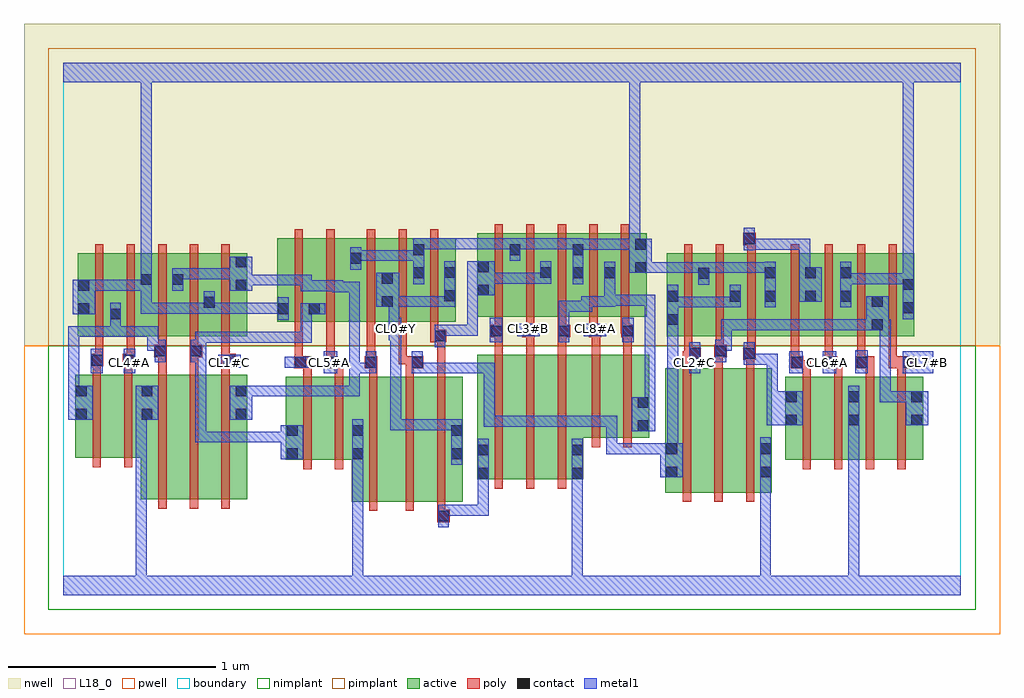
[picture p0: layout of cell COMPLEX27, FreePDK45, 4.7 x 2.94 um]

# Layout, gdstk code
import gdstk
lib = gdstk.Library(unit=1e-6, precision=1e-09)
def R(c, l, rs):  # rectangles x0, y0, x1, y1
    for r in rs: c.add(gdstk.rectangle(r[:2], r[2:], *l))
def A(c, l, x, y, w, h, nx, ny, dx, dy):  # array of equal rectangles
    R(c, l, [(x+i*dx, y+j*dy, x+i*dx+w, y+j*dy+h) for i in range(nx) for j in range(ny)])
active = (1, 0)
pwell = (2, 0)
nwell = (3, 0)
nimplant = (4, 0)
pimplant = (5, 0)
poly = (9, 0)
contact = (10, 0)
metal1 = (11, 0)
L18_0 = (18, 0)
boundary = (235, 0)

complex27 = lib.new_cell('COMPLEX27')
A(complex27, active, 0.37, 1.244, 0.06, 0.4, 4, 1, 0.152, 0)
A(complex27, active, 0.37, 1.244, 0.212, 0.4, 3, 1, 0.152, 0)
R(complex27, active, [(1.388,0.45,1.592,1.05), (1.388,0.45,1.448,0.822), (1.592,0.45,1.744,1.05), (1.744,0.45,1.924,1.05), (0.374,0.46,0.554,1.06), (0.554,0.46,0.706,1.06), (0.706,0.46,0.886,1.06), (2.898,0.492,3.078,1.092), (2.898,0.492,2.958,1.092), (3.078,0.492,3.23,1.092), (3.23,0.492,3.41,1.092), (0.826,0.556,0.886,1.06), (1.864,0.556,1.924,1.05), (1.992,0.556,2.172,1.156), (1.992,0.556,2.052,1.156), (2.172,0.556,2.324,1.156), (2.324,0.556,2.504,1.156), (2.444,0.556,2.504,0.756), (3.35,0.556,3.41,1.092), (1.072,0.65,1.252,1.05), (1.072,0.65,1.132,1.05), (1.252,0.65,1.448,1.05), (3.474,0.65,3.654,1.05), (3.474,0.65,3.534,1.05), (3.654,0.65,3.834,1.05), (3.774,0.65,3.958,1.05), (3.958,0.65,4.138,1.05), (0.058,0.66,0.238,1.06), (0.238,0.66,0.434,1.06), (0.058,0.756,0.118,1.06), (0.374,0.756,0.434,1.06), (2.444,0.756,2.64,1.156), (2.64,0.756,2.82,1.156), (2.76,0.756,2.82,1.156), (3.774,0.756,3.834,0.984), (4.078,0.756,4.138,1.05), (0.07,1.244,0.13,1.644), (0.07,1.244,0.282,1.644), (0.222,1.244,0.282,1.644), (0.222,1.244,0.43,1.644), (2.904,1.244,2.964,1.644), (2.904,1.244,3.112,1.644), (3.052,1.244,3.112,1.644), (3.052,1.244,3.264,1.644), (3.204,1.244,3.264,1.644), (3.204,1.244,3.432,1.644), (3.372,1.244,3.432,1.644), (3.372,1.244,3.626,1.644), (3.566,1.244,3.626,1.644), (3.566,1.244,3.796,1.644), (3.736,1.244,3.796,1.644), (3.736,1.244,3.948,1.644), (3.888,1.244,3.948,1.644), (3.888,1.244,4.096,1.644), (4.036,1.244,4.096,1.644), (1.03,1.316,1.238,1.716), (1.03,1.316,1.09,1.644), (1.178,1.316,1.238,1.644), (1.178,1.316,1.438,1.716), (1.378,1.316,1.59,1.716), (1.378,1.316,1.438,1.65), (1.53,1.316,1.742,1.716), (1.53,1.316,1.59,1.644), (1.682,1.316,1.89,1.716), (1.682,1.316,1.742,1.692), (1.83,1.316,1.89,1.644), (1.992,1.34,2.052,1.644), (1.992,1.34,2.204,1.74), (2.144,1.34,2.352,1.74), (2.144,1.34,2.204,1.692), (2.292,1.34,2.508,1.74), (2.448,1.34,2.66,1.74), (2.448,1.34,2.508,1.692), (2.6,1.34,2.66,1.644), (2.6,1.34,2.808,1.74), (2.748,1.34,2.808,1.718), (2.292,1.522,2.352,1.644)])
R(complex27, pwell, [(-0.188,-0.188,4.508,1.2)])
R(complex27, nwell, [(-0.188,1.2,4.508,2.748)])
R(complex27, nimplant, [(-0.072,-0.072,4.392,1.2)])
R(complex27, pimplant, [(-0.072,1.2,4.392,2.632)])
A(complex27, poly, 0.458, 0.416, 0.04, 0.688, 3, 1, 0.152, 0)
A(complex27, poly, 2.982, 0.448, 0.04, 0.688, 3, 1, 0.152, 0)
A(complex27, poly, 2.076, 0.512, 0.04, 0.688, 3, 1, 0.152, 0)
A(complex27, poly, 3.558, 0.606, 0.04, 0.488, 4, 1, 0.152, 0)
A(complex27, poly, 3.558, 1.054, 0.04, 0.076, 4, 1, 0.152, 0)
A(complex27, poly, 2.076, 1.16, 0.04, 0.12, 3, 1, 0.152, 0)
A(complex27, poly, 0.154, 1.2, 0.04, 0.488, 5, 1, 0.152, 0)
A(complex27, poly, 2.988, 1.2, 0.04, 0.488, 3, 1, 0.152, 0)
A(complex27, poly, 2.076, 1.26, 0.04, 0.076, 5, 1, 0.152, 0)
A(complex27, poly, 1.462, 1.272, 0.04, 0.488, 3, 1, 0.152, 0)
A(complex27, poly, 2.076, 1.296, 0.04, 0.488, 5, 1, 0.152, 0)
R(complex27, poly, [(1.8,0.35,1.86,0.41), (1.8,0.37,1.84,0.446), (1.472,0.406,1.512,1.094), (1.648,0.406,1.688,1.094), (1.8,0.406,1.84,1.094), (1.156,0.606,1.196,1.094), (1.308,0.606,1.348,1.094), (0.142,0.616,0.182,1.104), (0.294,0.616,0.334,1.104), (2.544,0.712,2.584,1.2), (2.696,0.712,2.736,1.2), (1.156,1.054,1.196,1.13), (1.308,1.054,1.348,1.13), (1.472,1.054,1.512,1.13), (1.648,1.054,1.688,1.13), (1.8,1.054,1.84,1.256), (0.142,1.064,0.182,1.14), (0.294,1.064,0.334,1.14), (0.458,1.064,0.498,1.184), (0.61,1.064,0.65,1.184), (0.762,1.064,0.802,1.14), (1.112,1.09,1.196,1.15), (1.262,1.09,1.322,1.15), (1.282,1.09,1.322,1.13), (1.282,1.09,1.348,1.13), (1.452,1.09,1.512,1.15), (1.472,1.09,1.512,1.13), (1.472,1.09,1.512,1.13), (1.648,1.09,1.734,1.15), (3.502,1.09,3.562,1.15), (3.522,1.09,3.562,1.13), (3.522,1.09,3.598,1.13), (3.664,1.09,3.724,1.15), (3.684,1.09,3.724,1.13), (3.684,1.09,3.75,1.13), (3.816,1.09,3.902,1.15), (3.972,1.09,4.096,1.15), (4.014,1.09,4.054,1.13), (4.014,1.09,4.054,1.13), (2.982,1.096,3.022,1.172), (3.134,1.096,3.174,1.184), (3.286,1.096,3.326,1.172), (0.134,1.1,0.194,1.16), (0.288,1.1,0.348,1.16), (0.762,1.1,0.83,1.16), (1.114,1.11,1.154,1.15), (1.114,1.11,1.154,1.15), (1.114,1.11,1.154,1.312), (1.266,1.11,1.306,1.312), (1.462,1.11,1.502,1.312), (1.614,1.11,1.654,1.312), (1.614,1.11,1.688,1.15), (1.648,1.11,1.688,1.15), (3.502,1.11,3.542,1.24), (3.664,1.11,3.704,1.24), (3.82,1.11,3.86,1.24), (3.82,1.11,3.86,1.15), (3.82,1.11,3.86,1.15), (3.972,1.11,4.012,1.24), (0.154,1.12,0.194,1.16), (0.154,1.12,0.194,1.16), (0.154,1.12,0.194,1.24), (0.306,1.12,0.346,1.16), (0.306,1.12,0.346,1.16), (0.306,1.12,0.346,1.24), (0.762,1.12,0.802,1.16), (0.762,1.12,0.802,1.16), (0.762,1.12,0.802,1.24), (2.982,1.132,3.028,1.172), (2.988,1.132,3.028,1.172), (2.988,1.132,3.068,1.192), (3.272,1.132,3.332,1.192), (0.438,1.144,0.498,1.204), (0.458,1.144,0.498,1.184), (0.458,1.144,0.498,1.184), (0.61,1.144,0.65,1.184), (0.61,1.144,0.65,1.184), (0.61,1.144,0.67,1.204), (3.134,1.144,3.174,1.184), (3.134,1.144,3.174,1.184), (3.134,1.144,3.194,1.204), (2.988,1.152,3.028,1.24), (3.292,1.152,3.332,1.192), (3.292,1.152,3.332,1.192), (3.292,1.152,3.332,1.24), (2.544,1.16,2.584,1.28), (2.696,1.16,2.736,1.28), (0.458,1.164,0.498,1.24), (0.61,1.164,0.65,1.24), (3.14,1.164,3.18,1.24), (3.502,1.2,3.542,1.688), (3.664,1.2,3.704,1.688), (3.82,1.2,3.86,1.688), (3.972,1.2,4.012,1.688), (1.766,1.216,1.844,1.276), (1.8,1.216,1.84,1.256), (1.8,1.216,1.84,1.256), (1.766,1.236,1.806,1.312), (2.056,1.24,2.116,1.3), (2.076,1.24,2.116,1.28), (2.076,1.24,2.116,1.28), (2.21,1.24,2.27,1.3), (2.38,1.24,2.42,1.28), (2.38,1.24,2.42,1.28), (2.38,1.24,2.44,1.3), (2.53,1.24,2.59,1.3), (2.686,1.24,2.746,1.3), (2.228,1.26,2.268,1.3), (2.228,1.26,2.268,1.3), (2.532,1.26,2.572,1.3), (2.532,1.26,2.572,1.3), (2.684,1.26,2.726,1.3), (2.686,1.26,2.726,1.3), (1.114,1.272,1.154,1.76), (1.266,1.272,1.306,1.76), (3.292,1.648,3.332,1.724), (3.272,1.684,3.332,1.744)])
R(complex27, contact, [(1.804,0.354,1.856,0.406), (1.996,0.56,2.048,0.612), (2.448,0.56,2.5,0.612), (2.902,0.566,2.954,0.618), (3.354,0.566,3.406,0.618), (1.076,0.654,1.128,0.706), (1.392,0.654,1.444,0.706), (1.868,0.654,1.92,0.706), (1.996,0.672,2.048,0.724), (2.448,0.672,2.5,0.724), (2.902,0.678,2.954,0.73), (3.354,0.678,3.406,0.73), (1.076,0.766,1.128,0.818), (1.392,0.766,1.444,0.818), (1.868,0.766,1.92,0.818), (2.764,0.788,2.816,0.84), (3.478,0.816,3.53,0.868), (3.778,0.816,3.83,0.868), (4.082,0.816,4.134,0.868), (0.062,0.844,0.114,0.896), (0.378,0.844,0.43,0.896), (0.83,0.844,0.882,0.896), (2.764,0.9,2.816,0.952), (3.478,0.928,3.53,0.98), (3.778,0.928,3.83,0.98), (4.082,0.928,4.134,0.98), (0.062,0.956,0.114,1.008), (0.378,0.956,0.43,1.008), (0.83,0.956,0.882,1.008), (1.116,1.094,1.168,1.146), (1.266,1.094,1.318,1.146), (1.456,1.094,1.508,1.146), (1.678,1.094,1.73,1.146), (3.506,1.094,3.558,1.146), (3.668,1.094,3.72,1.146), (3.82,1.094,3.872,1.146), (4.04,1.094,4.092,1.146), (0.138,1.104,0.19,1.156), (0.292,1.104,0.344,1.156), (0.774,1.104,0.826,1.156), (3.012,1.136,3.064,1.188), (3.276,1.136,3.328,1.188), (0.442,1.148,0.494,1.2), (0.614,1.148,0.666,1.2), (3.138,1.148,3.19,1.2), (1.788,1.22,1.84,1.272), (2.06,1.244,2.112,1.296), (2.214,1.244,2.266,1.296), (2.384,1.244,2.436,1.296), (2.534,1.244,2.586,1.296), (2.69,1.244,2.742,1.296), (3.892,1.274,3.944,1.326), (2.908,1.3,2.96,1.352), (0.226,1.326,0.278,1.378), (0.074,1.352,0.126,1.404), (1.034,1.352,1.086,1.404), (1.182,1.352,1.234,1.404), (4.04,1.356,4.092,1.408), (0.678,1.382,0.73,1.434), (1.534,1.386,1.586,1.438), (3.892,1.386,3.944,1.438), (2.908,1.412,2.96,1.464), (3.208,1.412,3.26,1.464), (3.376,1.412,3.428,1.464), (3.57,1.412,3.622,1.464), (3.74,1.412,3.792,1.464), (1.834,1.414,1.886,1.466), (1.996,1.442,2.048,1.494), (0.074,1.464,0.126,1.516), (0.83,1.464,0.882,1.516), (4.04,1.468,4.092,1.52), (0.374,1.492,0.426,1.544), (0.526,1.492,0.578,1.544), (1.534,1.498,1.586,1.55), (3.056,1.522,3.108,1.574), (1.686,1.524,1.738,1.576), (2.452,1.524,2.504,1.576), (2.604,1.524,2.656,1.576), (3.376,1.524,3.428,1.576), (3.57,1.524,3.622,1.576), (3.74,1.524,3.792,1.576), (1.834,1.526,1.886,1.578), (2.296,1.526,2.348,1.578), (2.752,1.55,2.804,1.602), (1.996,1.554,2.048,1.606), (0.83,1.576,0.882,1.628), (1.382,1.594,1.434,1.646), (1.686,1.636,1.738,1.688), (2.148,1.636,2.2,1.688), (2.452,1.636,2.504,1.688), (2.752,1.662,2.804,1.714), (3.276,1.688,3.328,1.74)])
A(complex27, metal1, 3.166, 1.274, 0.162, 0.052, 3, 1, 0.11, 0)
R(complex27, metal1, [(0,0,4.32,0.092), (0.35,0.04,0.402,0.092), (0.35,0.04,0.402,0.092), (0.35,0.04,0.402,0.092), (0.35,0.04,0.402,0.092), (0.35,0.04,0.402,0.092), (0.35,0.04,0.402,0.092), (0.35,0.04,0.402,0.092), (0.35,0.04,0.402,0.092), (0.35,0.04,0.402,0.896), (1.392,0.04,1.444,0.092), (1.392,0.04,1.444,0.092), (1.392,0.04,1.444,0.092), (1.392,0.04,1.444,0.092), (1.392,0.04,1.444,0.092), (1.392,0.04,1.444,0.092), (1.392,0.04,1.444,0.678), (2.448,0.04,2.5,0.584), (3.354,0.04,3.406,0.092), (3.354,0.04,3.406,0.092), (3.354,0.04,3.406,0.092), (3.354,0.04,3.406,0.092), (3.354,0.04,3.406,0.092), (3.354,0.04,3.406,0.092), (3.354,0.04,3.406,0.092), (3.354,0.04,3.406,0.092), (3.354,0.04,3.406,0.59), (3.778,0.04,3.83,0.84), (1.804,0.326,1.856,0.434), (1.804,0.382,1.856,0.434), (1.804,0.382,1.856,0.434), (1.804,0.382,2.048,0.434), (1.996,0.382,2.048,0.434), (1.996,0.382,2.048,0.584), (1.996,0.532,2.048,0.752), (2.448,0.532,2.5,0.584), (2.448,0.532,2.5,0.584), (2.448,0.532,2.5,0.584), (2.448,0.532,2.5,0.584), (2.448,0.532,2.5,0.584), (2.448,0.532,2.5,0.584), (2.448,0.532,2.5,0.584), (2.448,0.532,2.5,0.584), (2.448,0.532,2.5,0.752), (3.354,0.538,3.406,0.758), (2.874,0.566,2.982,0.73), (1.392,0.626,1.444,0.678), (1.392,0.626,1.444,0.678), (1.392,0.626,1.444,0.846), (1.868,0.626,1.92,0.846), (1.048,0.654,1.156,0.818), (2.614,0.678,2.666,0.73), (2.614,0.678,2.816,0.73), (2.614,0.678,2.666,0.862), (2.764,0.678,2.816,0.73), (2.764,0.678,2.816,0.73), (2.764,0.678,2.816,0.73), (2.764,0.678,2.926,0.73), (2.908,0.678,2.96,0.73), (2.908,0.678,2.96,0.73), (2.908,0.678,2.96,0.73), (2.908,0.678,2.96,0.73), (2.908,0.678,2.96,1.324), (0.636,0.734,0.688,0.786), (0.636,0.734,0.688,0.786), (0.636,0.734,0.688,0.786), (0.636,0.734,0.854,0.786), (0.636,0.734,0.688,1.228), (0.802,0.734,0.854,0.786), (0.802,0.734,0.854,0.786), (0.802,0.734,0.854,0.786), (0.802,0.734,1.1,0.786), (2.736,0.788,2.85,0.952), (3.778,0.788,3.83,0.84), (3.778,0.788,3.83,0.84), (3.778,0.788,3.83,0.84), (3.778,0.788,3.83,0.84), (3.778,0.788,3.83,0.84), (3.778,0.788,3.83,0.84), (3.778,0.788,3.83,0.84), (3.778,0.788,3.83,0.84), (3.778,0.788,3.83,0.84), (3.778,0.788,3.83,0.84), (3.778,0.788,3.83,0.84), (3.778,0.788,3.83,0.84), (3.778,0.788,3.83,1.008), (1.574,0.794,1.626,0.846), (1.574,0.794,1.626,0.846), (1.574,0.794,1.626,0.846), (1.574,0.794,1.736,0.846), (1.574,0.794,1.626,1.278), (1.684,0.794,1.736,0.846), (1.684,0.794,1.886,0.846), (1.834,0.794,1.886,0.846), (1.834,0.794,1.92,0.846), (2.024,0.81,2.076,0.862), (2.024,0.81,2.076,0.862), (2.024,0.81,2.076,0.862), (2.024,0.81,2.186,0.862), (2.024,0.81,2.076,1.118), (2.134,0.81,2.186,0.862), (2.134,0.81,2.186,0.862), (2.134,0.81,2.186,0.862), (2.134,0.81,2.326,0.862), (2.274,0.81,2.326,0.862), (2.274,0.81,2.326,0.862), (2.274,0.81,2.326,0.862), (2.274,0.81,2.546,0.862), (2.494,0.81,2.546,0.862), (2.494,0.81,2.546,0.862), (2.494,0.81,2.546,0.862), (2.494,0.81,2.666,0.862), (2.614,0.81,2.666,0.862), (3.386,0.816,3.558,0.98), (4.054,0.816,4.162,0.98), (0.026,0.844,0.142,1.008), (0.35,0.844,0.458,1.008), (0.802,0.844,0.91,1.008), (2.798,0.9,2.85,1.444), (3.386,0.928,3.438,1.16), (3.93,0.928,3.982,0.98), (3.93,0.928,3.982,0.98), (3.93,0.928,3.982,0.98), (3.93,0.928,4.106,0.98), (3.93,0.928,3.982,1.326), (4.054,0.928,4.106,0.98), (4.054,0.928,4.106,0.98), (0.026,0.956,0.078,1.008), (0.026,0.956,0.078,1.008), (0.026,0.956,0.078,1.294), (0.858,0.956,1.086,1.008), (1.034,0.956,1.086,1.008), (1.034,0.956,1.086,1.008), (1.034,0.956,1.086,1.008), (1.034,0.956,1.318,1.008), (1.266,0.956,1.318,1.008), (1.266,0.956,1.318,1.008), (1.266,0.956,1.318,1.008), (1.266,0.956,1.318,1.008), (1.266,0.956,1.318,1.008), (1.266,0.956,1.428,1.008), (1.376,0.956,1.428,1.008), (1.376,0.956,1.428,1.118), (0.134,1.066,0.19,1.184), (0.292,1.066,0.348,1.184), (1.254,1.066,1.318,1.174), (1.376,1.066,1.428,1.118), (1.376,1.066,1.428,1.118), (1.376,1.066,1.428,1.118), (1.376,1.066,1.508,1.118), (1.376,1.066,1.428,1.508), (1.456,1.066,1.508,1.174), (1.678,1.066,1.73,1.174), (1.678,1.066,1.746,1.118), (1.694,1.066,1.746,1.118), (1.694,1.066,1.886,1.118), (1.834,1.066,1.886,1.118), (1.834,1.066,1.886,1.118), (1.834,1.066,1.886,1.118), (1.834,1.066,2.076,1.118), (2.024,1.066,2.076,1.118), (3.012,1.066,3.066,1.216), (3.494,1.066,3.558,1.174), (3.654,1.066,3.72,1.174), (3.812,1.066,3.872,1.178), (4.04,1.066,4.186,1.174), (0.746,1.094,0.854,1.156), (1.066,1.094,1.196,1.146), (3.276,1.108,3.328,1.16), (3.276,1.108,3.328,1.16), (3.276,1.108,3.438,1.16), (3.276,1.108,3.328,1.216), (3.386,1.108,3.438,1.16), (0.442,1.12,0.494,1.228), (0.614,1.12,0.666,1.228), (3.138,1.12,3.19,1.228), (0.406,1.176,0.494,1.228), (0.406,1.176,0.458,1.294), (0.614,1.176,0.688,1.228), (0.636,1.176,0.688,1.228), (0.636,1.176,0.688,1.228), (0.636,1.176,0.688,1.266), (3.138,1.176,3.218,1.228), (3.166,1.176,3.218,1.326), (1.788,1.192,1.84,1.3), (0.636,1.214,0.854,1.266), (0.802,1.214,0.854,1.266), (0.802,1.214,0.964,1.266), (0.912,1.214,0.964,1.266), (0.912,1.214,0.964,1.266), (0.912,1.214,0.964,1.266), (0.912,1.214,1.196,1.266), (1.144,1.214,1.196,1.266), (1.144,1.214,1.196,1.266), (1.144,1.214,1.196,1.266), (1.144,1.214,1.196,1.404), (2.054,1.216,2.112,1.334), (2.384,1.216,2.436,1.324), (2.69,1.216,2.746,1.334), (1.568,1.226,1.626,1.334), (0.026,1.242,0.078,1.294), (0.026,1.242,0.078,1.294), (0.026,1.242,0.078,1.294), (0.026,1.242,0.278,1.294), (0.226,1.242,0.278,1.294), (0.226,1.242,0.278,1.294), (0.226,1.242,0.278,1.294), (0.226,1.242,0.278,1.35), (0.226,1.242,0.458,1.294), (2.186,1.244,2.294,1.306), (2.506,1.244,2.614,1.306), (1.788,1.248,1.92,1.3), (1.868,1.248,1.92,1.3), (1.868,1.248,1.996,1.3), (1.944,1.248,1.996,1.3), (1.944,1.248,1.996,1.494), (2.384,1.272,2.436,1.324), (2.384,1.272,2.436,1.416), (2.908,1.272,2.96,1.324), (2.908,1.272,2.96,1.324), (2.908,1.272,2.96,1.492), (3.276,1.274,3.328,1.326), (3.276,1.274,3.328,1.326), (3.276,1.274,3.328,1.326), (3.386,1.274,3.438,1.326), (3.386,1.274,3.438,1.326), (3.386,1.274,3.438,1.326), (3.496,1.274,3.548,1.326), (3.496,1.274,3.548,1.326), (3.496,1.274,3.548,1.326), (3.496,1.274,3.682,1.326), (3.63,1.274,3.682,1.326), (3.63,1.274,3.682,1.326), (3.63,1.274,3.682,1.326), (3.63,1.274,3.872,1.326), (3.82,1.274,3.872,1.326), (3.82,1.274,3.916,1.326), (3.864,1.274,3.972,1.438), (3.92,1.274,3.972,1.326), (3.92,1.274,3.982,1.326), (1.566,1.282,1.618,1.438), (1.566,1.282,1.62,1.334), (1.568,1.282,1.62,1.334), (0.226,1.298,0.278,1.406), (1.034,1.324,1.086,1.432), (4.04,1.328,4.092,1.548), (0.046,1.352,0.154,1.516), (1.144,1.352,1.262,1.404), (0.374,1.354,0.426,1.406), (0.374,1.354,0.426,1.406), (0.374,1.354,0.426,1.406), (0.374,1.354,0.426,1.516), (0.374,1.354,0.568,1.406), (0.516,1.354,0.568,1.406), (0.516,1.354,0.568,1.406), (0.516,1.354,0.568,1.406), (0.516,1.354,0.73,1.406), (0.678,1.354,0.84,1.406), (0.678,1.354,0.73,1.462), (0.788,1.354,0.84,1.406), (0.788,1.354,0.84,1.406), (0.788,1.354,0.84,1.406), (0.788,1.354,1.086,1.406), (2.384,1.364,2.546,1.416), (2.494,1.364,2.546,1.438), (2.908,1.384,3.078,1.436), (3.026,1.384,3.078,1.436), (3.026,1.384,3.078,1.436), (3.026,1.384,3.078,1.436), (3.026,1.384,3.188,1.436), (3.136,1.384,3.188,1.436), (3.136,1.384,3.26,1.436), (3.208,1.384,3.26,1.492), (3.376,1.384,3.428,1.604), (3.74,1.384,3.792,1.604), (1.506,1.386,1.618,1.55), (1.566,1.386,1.618,1.438), (1.566,1.386,1.618,1.438), (1.566,1.386,1.736,1.438), (1.684,1.386,1.736,1.438), (1.684,1.386,1.886,1.438), (1.834,1.386,1.886,1.438), (1.834,1.386,1.886,1.438), (1.834,1.386,1.886,1.606), (2.494,1.386,2.656,1.438), (2.604,1.386,2.656,1.444), (2.604,1.392,2.656,1.444), (2.604,1.392,2.656,1.444), (2.604,1.392,2.85,1.444), (2.604,1.392,2.656,1.548), (2.798,1.392,2.85,1.444), (2.798,1.392,2.85,1.444), (2.798,1.392,2.85,1.444), (3.542,1.412,3.65,1.576), (1.944,1.442,2.076,1.606), (1.296,1.456,1.348,1.514), (1.296,1.456,1.428,1.508), (1.376,1.456,1.428,1.508), (1.144,1.462,1.348,1.514), (1.144,1.462,1.196,1.542), (0.102,1.464,0.154,1.516), (0.102,1.464,0.154,1.516), (0.102,1.464,0.264,1.516), (0.212,1.464,0.264,1.516), (0.212,1.464,0.264,1.516), (0.212,1.464,0.264,1.516), (0.212,1.464,0.426,1.516), (0.374,1.464,0.426,1.516), (0.374,1.464,0.426,1.516), (0.374,1.464,0.426,1.516), (0.374,1.464,0.426,1.516), (0.374,1.464,0.426,1.572), (0.526,1.464,0.578,1.572), (0.802,1.464,0.91,1.628), (0.858,1.49,1.086,1.542), (1.034,1.49,1.086,1.542), (1.034,1.49,1.086,1.542), (1.034,1.49,1.086,1.542), (1.034,1.49,1.196,1.542), (3.056,1.494,3.108,1.602), (1.686,1.496,1.738,1.716), (2.452,1.496,2.504,1.716), (2.604,1.496,2.656,1.604), (3.74,1.496,3.792,1.548), (3.74,1.496,3.792,1.548), (3.74,1.496,3.902,1.548), (3.85,1.496,3.902,1.548), (3.85,1.496,4.092,1.548), (4.04,1.496,4.092,1.548), (4.04,1.496,4.092,1.548), (4.04,1.496,4.092,1.548), (4.04,1.496,4.092,1.548), (4.04,1.496,4.092,1.548), (4.04,1.496,4.092,1.548), (4.04,1.496,4.092,1.548), (4.04,1.496,4.092,1.548), (4.04,1.496,4.092,1.548), (4.04,1.496,4.092,1.548), (4.04,1.496,4.092,1.548), (4.04,1.496,4.092,1.548), (4.04,1.496,4.092,2.52), (2.024,1.498,2.076,1.55), (2.024,1.498,2.076,1.55), (2.024,1.498,2.186,1.55), (2.134,1.498,2.186,1.55), (2.134,1.498,2.186,1.55), (2.134,1.498,2.186,1.55), (2.134,1.498,2.348,1.55), (2.296,1.498,2.348,1.606), (0.374,1.52,0.426,1.572), (0.374,1.52,0.426,1.572), (0.374,1.52,0.426,1.572), (0.374,1.52,0.426,1.572), (0.374,1.52,0.426,1.572), (0.374,1.52,0.426,1.572), (0.374,1.52,0.426,1.572), (0.374,1.52,0.426,1.572), (0.374,1.52,0.426,1.572), (0.374,1.52,0.426,1.572), (0.374,1.52,0.426,1.572), (0.374,1.52,0.426,1.572), (0.374,1.52,0.426,1.572), (0.374,1.52,0.426,1.572), (0.374,1.52,0.426,2.52), (0.526,1.52,0.578,1.572), (0.526,1.52,0.578,1.572), (0.526,1.52,0.688,1.572), (0.636,1.52,0.688,1.572), (0.636,1.52,0.854,1.572), (0.802,1.52,0.854,1.572), (0.802,1.52,0.854,1.572), (3.542,1.524,3.594,1.714), (2.724,1.55,2.832,1.714), (2.78,1.55,2.96,1.602), (2.908,1.55,2.96,1.602), (2.908,1.55,2.96,1.602), (2.908,1.55,2.96,1.602), (2.908,1.55,3.108,1.602), (3.056,1.55,3.218,1.602), (3.166,1.55,3.218,1.602), (3.166,1.55,3.218,1.602), (3.166,1.55,3.218,1.602), (3.166,1.55,3.328,1.602), (3.276,1.55,3.328,1.602), (3.276,1.55,3.428,1.602), (1.382,1.566,1.434,1.674), (1.382,1.608,1.466,1.66), (1.414,1.608,1.466,1.66), (1.414,1.608,1.626,1.66), (1.574,1.608,1.626,1.66), (1.574,1.608,1.626,1.66), (1.574,1.608,1.626,1.66), (1.574,1.608,1.738,1.66), (2.148,1.608,2.2,1.716), (3.276,1.66,3.328,1.768), (2.452,1.662,2.546,1.714), (2.494,1.662,2.546,1.714), (2.494,1.662,2.666,1.714), (2.614,1.662,2.666,1.714), (2.614,1.662,2.666,1.714), (2.614,1.662,2.666,1.714), (2.614,1.662,2.776,1.714), (2.724,1.662,2.776,1.714), (2.724,1.662,2.776,1.714), (2.724,1.662,2.776,1.714), (2.724,1.662,2.776,1.714), (2.724,1.662,2.776,1.714), (2.724,1.662,2.776,1.714), (2.724,1.662,2.776,1.714), (2.724,1.662,2.776,1.714), (2.724,1.662,2.776,2.52), (3.276,1.662,3.328,1.714), (3.276,1.662,3.328,1.714), (3.276,1.662,3.438,1.714), (3.386,1.662,3.438,1.714), (3.386,1.662,3.438,1.714), (3.386,1.662,3.438,1.714), (3.386,1.662,3.594,1.714), (3.542,1.662,3.594,1.714), (1.686,1.664,1.886,1.716), (1.834,1.664,1.886,1.716), (1.834,1.664,1.886,1.716), (1.834,1.664,1.886,1.716), (1.834,1.664,2.03,1.716), (1.978,1.664,2.03,1.716), (1.978,1.664,2.03,1.716), (1.978,1.664,2.03,1.716), (1.978,1.664,2.2,1.716), (2.148,1.664,2.2,1.716), (2.148,1.664,2.2,1.716), (2.148,1.664,2.326,1.716), (2.274,1.664,2.326,1.716), (2.274,1.664,2.326,1.716), (2.274,1.664,2.326,1.716), (2.274,1.664,2.504,1.716), (0,2.468,4.32,2.56), (0.374,2.468,0.426,2.52), (0.374,2.468,0.426,2.52), (2.724,2.468,2.776,2.52), (2.724,2.468,2.776,2.52), (2.724,2.468,2.776,2.52), (2.724,2.468,2.776,2.52), (2.724,2.468,2.776,2.52), (2.724,2.468,2.776,2.52), (2.724,2.468,2.776,2.52), (2.724,2.468,2.776,2.52), (4.04,2.468,4.092,2.52), (4.04,2.468,4.092,2.52), (4.04,2.468,4.092,2.52), (4.04,2.468,4.092,2.52), (4.04,2.468,4.092,2.52), (4.04,2.468,4.092,2.52)])
A(complex27, L18_0, 3.494, 1.094, 0.052, 0.052, 3, 1, 0.16, 0)
R(complex27, L18_0, [(0,0,4.32,0.092), (0.35,0.04,0.402,0.092), (0.35,0.04,0.402,0.092), (0.35,0.04,0.402,0.092), (0.35,0.04,0.402,0.092), (0.35,0.04,0.402,0.092), (0.35,0.04,0.402,0.092), (0.35,0.04,0.402,0.092), (0.35,0.04,0.402,0.092), (0.35,0.04,0.402,0.896), (1.392,0.04,1.444,0.092), (1.392,0.04,1.444,0.092), (1.392,0.04,1.444,0.092), (1.392,0.04,1.444,0.092), (1.392,0.04,1.444,0.092), (1.392,0.04,1.444,0.092), (1.392,0.04,1.444,0.678), (2.448,0.04,2.5,0.584), (3.354,0.04,3.406,0.092), (3.354,0.04,3.406,0.092), (3.354,0.04,3.406,0.092), (3.354,0.04,3.406,0.092), (3.354,0.04,3.406,0.092), (3.354,0.04,3.406,0.092), (3.354,0.04,3.406,0.092), (3.354,0.04,3.406,0.092), (3.354,0.04,3.406,0.59), (3.778,0.04,3.83,0.84), (2.448,0.532,2.5,0.584), (2.448,0.532,2.5,0.584), (2.448,0.532,2.5,0.584), (2.448,0.532,2.5,0.584), (2.448,0.532,2.5,0.584), (2.448,0.532,2.5,0.584), (2.448,0.532,2.5,0.584), (2.448,0.532,2.5,0.584), (2.448,0.532,2.5,0.752), (3.354,0.538,3.406,0.758), (1.392,0.626,1.444,0.678), (1.392,0.626,1.444,0.678), (1.392,0.626,1.444,0.846), (1.868,0.626,1.92,0.846), (3.778,0.788,3.83,0.84), (3.778,0.788,3.83,0.84), (3.778,0.788,3.83,0.84), (3.778,0.788,3.83,0.84), (3.778,0.788,3.83,0.84), (3.778,0.788,3.83,0.84), (3.778,0.788,3.83,0.84), (3.778,0.788,3.83,0.84), (3.778,0.788,3.83,0.84), (3.778,0.788,3.83,0.84), (3.778,0.788,3.83,0.84), (3.778,0.788,3.83,0.84), (3.778,0.788,3.83,1.008), (1.574,0.794,1.626,0.846), (1.574,0.794,1.626,0.846), (1.574,0.794,1.626,0.846), (1.574,0.794,1.736,0.846), (1.574,0.794,1.626,1.278), (1.684,0.794,1.736,0.846), (1.684,0.794,1.886,0.846), (1.834,0.794,1.886,0.846), (1.834,0.794,1.92,0.846), (0.35,0.844,0.458,1.008), (0.134,1.066,0.19,1.184), (0.292,1.066,0.348,1.184), (1.254,1.066,1.318,1.174), (3.012,1.066,3.066,1.216), (3.494,1.066,3.558,1.174), (3.654,1.066,3.72,1.174), (3.812,1.066,3.872,1.178), (4.04,1.066,4.186,1.174), (0.134,1.094,0.186,1.146), (0.294,1.094,0.346,1.146), (0.746,1.094,0.854,1.156), (0.774,1.094,0.826,1.146), (1.066,1.094,1.196,1.146), (1.094,1.094,1.146,1.146), (1.254,1.094,1.306,1.146), (3.014,1.094,3.066,1.146), (4.134,1.094,4.186,1.146), (2.054,1.216,2.112,1.334), (2.69,1.216,2.746,1.334), (1.568,1.226,1.626,1.334), (2.186,1.244,2.294,1.306), (2.506,1.244,2.614,1.306), (1.574,1.254,1.626,1.306), (2.054,1.254,2.106,1.306), (2.214,1.254,2.266,1.306), (2.534,1.254,2.586,1.306), (2.694,1.254,2.746,1.306), (1.566,1.282,1.62,1.334), (1.566,1.282,1.618,1.438), (1.568,1.282,1.62,1.334), (1.034,1.324,1.086,1.432), (4.04,1.328,4.092,1.548), (0.046,1.352,0.154,1.516), (0.374,1.354,0.426,1.406), (0.374,1.354,0.426,1.406), (0.374,1.354,0.426,1.406), (0.374,1.354,0.426,1.516), (0.374,1.354,0.568,1.406), (0.516,1.354,0.568,1.406), (0.516,1.354,0.568,1.406), (0.516,1.354,0.568,1.406), (0.516,1.354,0.73,1.406), (0.678,1.354,0.84,1.406), (0.678,1.354,0.73,1.462), (0.788,1.354,0.84,1.406), (0.788,1.354,0.84,1.406), (0.788,1.354,0.84,1.406), (0.788,1.354,1.086,1.406), (3.376,1.384,3.428,1.604), (3.74,1.384,3.792,1.604), (1.506,1.386,1.618,1.55), (1.566,1.386,1.618,1.438), (1.566,1.386,1.618,1.438), (1.566,1.386,1.736,1.438), (1.684,1.386,1.736,1.438), (1.684,1.386,1.886,1.438), (1.834,1.386,1.886,1.438), (1.834,1.386,1.886,1.438), (1.834,1.386,1.886,1.606), (0.102,1.464,0.154,1.516), (0.102,1.464,0.154,1.516), (0.102,1.464,0.264,1.516), (0.212,1.464,0.264,1.516), (0.212,1.464,0.264,1.516), (0.212,1.464,0.264,1.516), (0.212,1.464,0.426,1.516), (0.374,1.464,0.426,1.516), (0.374,1.464,0.426,1.516), (0.374,1.464,0.426,1.516), (0.374,1.464,0.426,1.516), (0.374,1.464,0.426,1.572), (3.056,1.494,3.108,1.602), (1.686,1.496,1.738,1.716), (2.452,1.496,2.504,1.716), (3.74,1.496,3.792,1.548), (3.74,1.496,3.792,1.548), (3.74,1.496,3.902,1.548), (3.85,1.496,3.902,1.548), (3.85,1.496,4.092,1.548), (4.04,1.496,4.092,1.548), (4.04,1.496,4.092,1.548), (4.04,1.496,4.092,1.548), (4.04,1.496,4.092,1.548), (4.04,1.496,4.092,1.548), (4.04,1.496,4.092,1.548), (4.04,1.496,4.092,1.548), (4.04,1.496,4.092,1.548), (4.04,1.496,4.092,1.548), (4.04,1.496,4.092,1.548), (4.04,1.496,4.092,1.548), (4.04,1.496,4.092,1.548), (4.04,1.496,4.092,2.52), (0.374,1.52,0.426,1.572), (0.374,1.52,0.426,1.572), (0.374,1.52,0.426,1.572), (0.374,1.52,0.426,1.572), (0.374,1.52,0.426,1.572), (0.374,1.52,0.426,1.572), (0.374,1.52,0.426,1.572), (0.374,1.52,0.426,1.572), (0.374,1.52,0.426,1.572), (0.374,1.52,0.426,1.572), (0.374,1.52,0.426,1.572), (0.374,1.52,0.426,1.572), (0.374,1.52,0.426,1.572), (0.374,1.52,0.426,1.572), (0.374,1.52,0.426,2.52), (2.724,1.55,2.832,1.714), (2.78,1.55,2.96,1.602), (2.908,1.55,2.96,1.602), (2.908,1.55,2.96,1.602), (2.908,1.55,2.96,1.602), (2.908,1.55,3.108,1.602), (3.056,1.55,3.218,1.602), (3.166,1.55,3.218,1.602), (3.166,1.55,3.218,1.602), (3.166,1.55,3.218,1.602), (3.166,1.55,3.328,1.602), (3.276,1.55,3.328,1.602), (3.276,1.55,3.428,1.602), (1.382,1.566,1.434,1.674), (1.382,1.608,1.466,1.66), (1.414,1.608,1.466,1.66), (1.414,1.608,1.626,1.66), (1.574,1.608,1.626,1.66), (1.574,1.608,1.626,1.66), (1.574,1.608,1.626,1.66), (1.574,1.608,1.738,1.66), (2.148,1.608,2.2,1.716), (2.452,1.662,2.546,1.714), (2.494,1.662,2.546,1.714), (2.494,1.662,2.666,1.714), (2.614,1.662,2.666,1.714), (2.614,1.662,2.666,1.714), (2.614,1.662,2.666,1.714), (2.614,1.662,2.776,1.714), (2.724,1.662,2.776,1.714), (2.724,1.662,2.776,1.714), (2.724,1.662,2.776,1.714), (2.724,1.662,2.776,1.714), (2.724,1.662,2.776,1.714), (2.724,1.662,2.776,1.714), (2.724,1.662,2.776,1.714), (2.724,1.662,2.776,1.714), (2.724,1.662,2.776,2.52), (1.686,1.664,1.886,1.716), (1.834,1.664,1.886,1.716), (1.834,1.664,1.886,1.716), (1.834,1.664,1.886,1.716), (1.834,1.664,2.03,1.716), (1.978,1.664,2.03,1.716), (1.978,1.664,2.03,1.716), (1.978,1.664,2.03,1.716), (1.978,1.664,2.2,1.716), (2.148,1.664,2.2,1.716), (2.148,1.664,2.2,1.716), (2.148,1.664,2.326,1.716), (2.274,1.664,2.326,1.716), (2.274,1.664,2.326,1.716), (2.274,1.664,2.326,1.716), (2.274,1.664,2.504,1.716), (0,2.468,4.32,2.56), (0.374,2.468,0.426,2.52), (0.374,2.468,0.426,2.52), (2.724,2.468,2.776,2.52), (2.724,2.468,2.776,2.52), (2.724,2.468,2.776,2.52), (2.724,2.468,2.776,2.52), (2.724,2.468,2.776,2.52), (2.724,2.468,2.776,2.52), (2.724,2.468,2.776,2.52), (2.724,2.468,2.776,2.52), (4.04,2.468,4.092,2.52), (4.04,2.468,4.092,2.52), (4.04,2.468,4.092,2.52), (4.04,2.468,4.092,2.52), (4.04,2.468,4.092,2.52), (4.04,2.468,4.092,2.52)])
R(complex27, boundary, [(0,0,4.32,2.56)])
complex27.add(gdstk.Label('CL0#Y', (1.6,1.28), layer=11, texttype=0))
complex27.add(gdstk.Label('CL1#C', (0.8,1.12), layer=11, texttype=0))
complex27.add(gdstk.Label('CL2#C', (3.04,1.12), layer=11, texttype=0))
complex27.add(gdstk.Label('CL3#B', (2.24,1.28), layer=11, texttype=0))
complex27.add(gdstk.Label('CL3#C', (2.08,1.28), layer=11, texttype=0))
complex27.add(gdstk.Label('CL4#A', (0.32,1.12), layer=11, texttype=0))
complex27.add(gdstk.Label('CL4#B', (0.16,1.12), layer=11, texttype=0))
complex27.add(gdstk.Label('CL5#A', (1.28,1.12), layer=11, texttype=0))
complex27.add(gdstk.Label('CL5#B', (1.12,1.12), layer=11, texttype=0))
complex27.add(gdstk.Label('CL6#A', (3.68,1.12), layer=11, texttype=0))
complex27.add(gdstk.Label('CL6#B', (3.52,1.12), layer=11, texttype=0))
complex27.add(gdstk.Label('CL7#A', (3.84,1.12), layer=11, texttype=0))
complex27.add(gdstk.Label('CL7#B', (4.16,1.12), layer=11, texttype=0))
complex27.add(gdstk.Label('CL8#A', (2.56,1.28), layer=11, texttype=0))
complex27.add(gdstk.Label('CL8#B', (2.72,1.28), layer=11, texttype=0))

lib.write_gds('COMPLEX27.gds')
